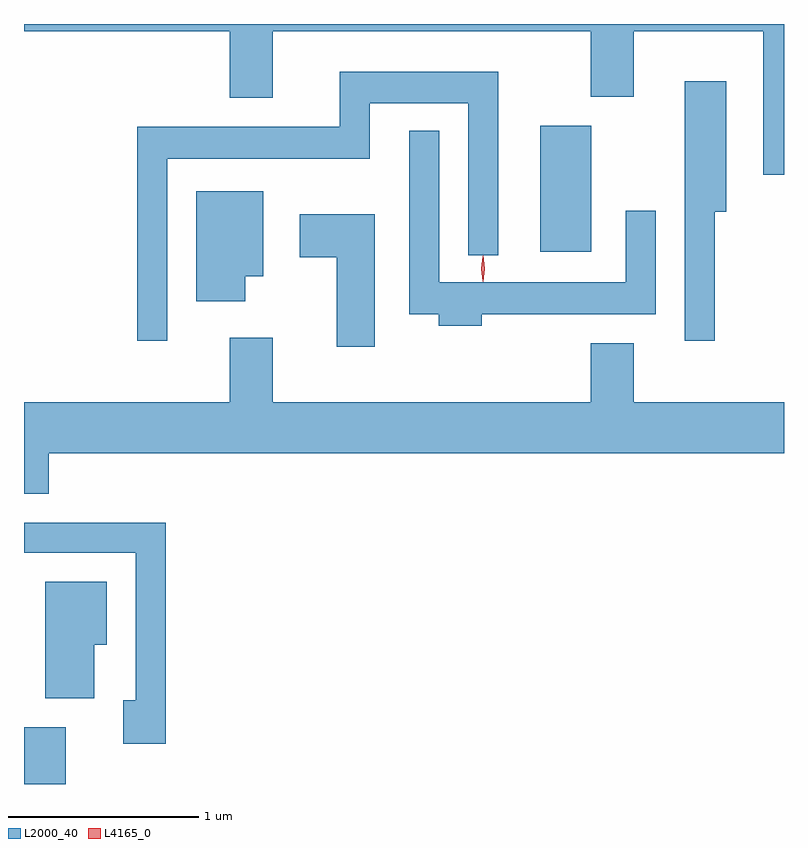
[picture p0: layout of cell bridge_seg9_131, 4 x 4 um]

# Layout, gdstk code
import gdstk
lib = gdstk.Library(unit=1e-6, precision=1e-09)
def R(c, l, rs):  # rectangles x0, y0, x1, y1
    for r in rs: c.add(gdstk.rectangle(r[:2], r[2:], *l))
def P(c, l, *ps):  # polygons
    for p in ps: c.add(gdstk.Polygon(p, *l))
L2000_40 = (2000, 40)
L4165_0 = (4165, 0)

bridge_seg9_131 = lib.new_cell('bridge_seg9_131')
R(bridge_seg9_131, L2000_40, [(1368.419,2069.994,1368.639,2070.294), (1371.136,2072.796,1371.404,2073.459)])
P(bridge_seg9_131, L2000_40, [(1372.419,2073.994),(1368.419,2073.994),(1368.419,2073.956),(1369.501,2073.956),(1369.501,2073.606),(1369.729,2073.606),(1369.729,2073.956),(1371.401,2073.956),(1371.401,2073.611),(1371.629,2073.611),(1371.629,2073.956),(1372.311,2073.956),(1372.311,2073.201),(1372.419,2073.201)],
  [(1369.174,2073.286),(1370.239,2073.286),(1370.239,2073.576),(1370.756,2073.576),(1370.756,2072.778),(1370.914,2072.778),(1370.914,2073.744),(1370.081,2073.744),(1370.081,2073.454),(1369.016,2073.454),(1369.016,2072.327),(1369.174,2072.327)],
  [(1372.054,2073.006),(1372.114,2073.006),(1372.114,2073.694),(1371.896,2073.694),(1371.896,2072.327),(1372.054,2072.327)],
  [(1370.829,2072.466),(1371.744,2072.466),(1371.744,2073.012),(1371.586,2073.012),(1371.586,2072.634),(1370.604,2072.634),(1370.604,2073.433),(1370.446,2073.433),(1370.446,2072.466),(1370.601,2072.466),(1370.601,2072.406),(1370.829,2072.406)],
  [(1369.584,2072.666),(1369.679,2072.666),(1369.679,2073.114),(1369.326,2073.114),(1369.326,2072.536),(1369.584,2072.536)],
  [(1370.264,2072.994),(1369.871,2072.994),(1369.871,2072.766),(1370.066,2072.766),(1370.066,2072.296),(1370.264,2072.296)],
  [(1368.549,2071.736),(1372.419,2071.736),(1372.419,2072.004),(1371.629,2072.004),(1371.629,2072.314),(1371.401,2072.314),(1371.401,2072.004),(1369.729,2072.004),(1369.729,2072.344),(1369.501,2072.344),(1369.501,2072.004),(1368.419,2072.004),(1368.419,2071.521),(1368.549,2071.521)],
  [(1369.164,2071.369),(1368.419,2071.369),(1368.419,2071.211),(1369.006,2071.211),(1369.006,2070.434),(1368.941,2070.434),(1368.941,2070.206),(1369.164,2070.206)],
  [(1368.789,2070.726),(1368.854,2070.726),(1368.854,2071.059),(1368.531,2071.059),(1368.531,2070.446),(1368.789,2070.446)])
P(bridge_seg9_131, L4165_0, [(1370.835,2072.637),(1370.835,2072.637),(1370.825,2072.707),(1370.835,2072.776),(1370.835,2072.776),(1370.836,2072.776),(1370.845,2072.707),(1370.836,2072.637)],
  [(1370.835,2072.639),(1370.834,2072.64),(1370.825,2072.706),(1370.834,2072.772),(1370.835,2072.773),(1370.836,2072.772),(1370.845,2072.706),(1370.836,2072.64)])

lib.write_gds('bridge_seg9_131.gds')
